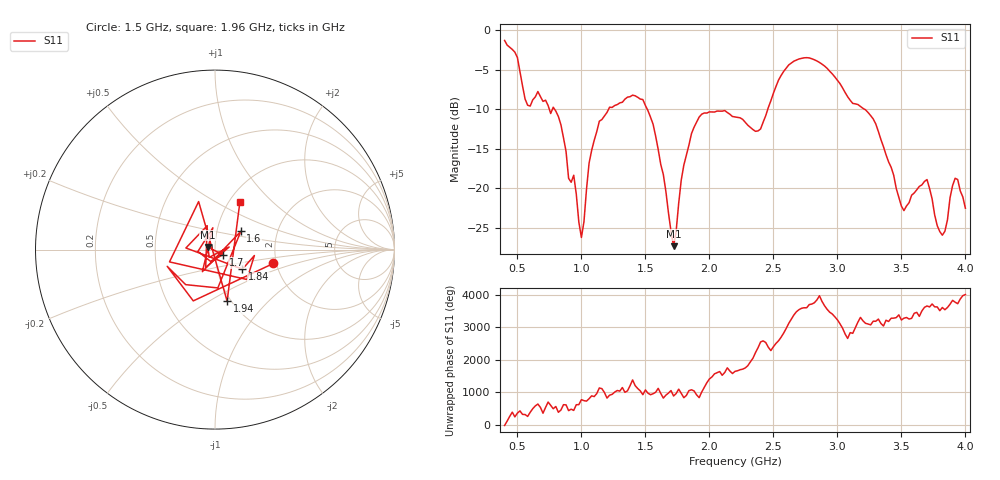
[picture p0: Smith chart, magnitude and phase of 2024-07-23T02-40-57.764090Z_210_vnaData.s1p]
!Created with skrf (http://scikit-rf.org).
# Hz S RI R 50.0
!freq ReS11 ImS11
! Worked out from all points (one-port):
!   181 points, 400 MHz to 4 GHz, reference 50 ohm
!   lowest |S11| = -27.3 dB at 1.72 GHz (marker M1), VSWR 1.09, Z = 46.1 + j1.31 ohm
!   |S11| at or under -10 dB: 791 MHz to 1.212 GHz (420.7 MHz wide, 42 % of centre); 1.515 GHz to 2.456 GHz (940.7 MHz wide, 47.4 % of centre); 3.214 GHz to end of sweep (the widest 3 of 4)
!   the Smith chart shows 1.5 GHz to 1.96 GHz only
!   S11 on the Smith chart (normalised r, x): 1.5 GHz: 1.93, -0.33; 1.6 GHz: 1.30, +0.27; 1.7 GHz: 1.09, -0.06; 1.84 GHz: 1.32, -0.30; 1.94 GHz: 0.96, -0.60; 1.96 GHz: 1.12, +0.65
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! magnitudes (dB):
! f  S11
! 400 MHz  -1.3
! 580 MHz  -9.5
! 660 MHz  -7.7
! 860 MHz  -13.6
! 940 MHz  -18.4
! 1 GHz  -26.2
! 1.06 GHz  -16.8
! 1.14 GHz  -11.5
! 1.3 GHz  -9.2
! 1.5 GHz  -9.5
! 1.6 GHz  -15.1
! 1.7 GHz  -25.5
! 1.72 GHz  -27.3
! 1.76 GHz  -21.9
! 1.84 GHz  -14.5
! 1.94 GHz  -10.6
! 1.96 GHz  -10.5
! 2.2 GHz  -11.0
! 2.4 GHz  -12.5
! 2.66 GHz  -3.9
! 3.1 GHz  -8.8
! 3.28 GHz  -11.2
! 3.5 GHz  -22.3
! 3.56 GHz  -21.8
! 3.7 GHz  -18.9
! 3.82 GHz  -25.9
! 3.92 GHz  -18.7
! 4 GHz  -22.5
